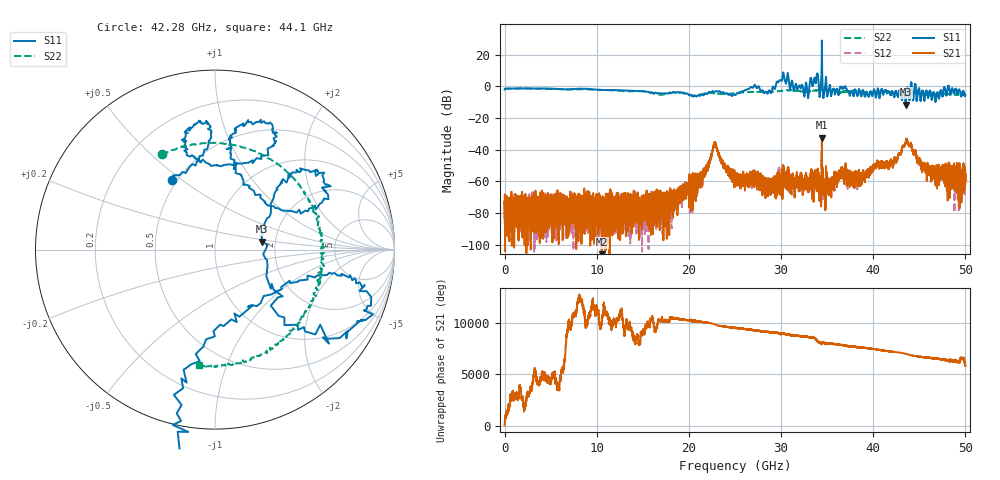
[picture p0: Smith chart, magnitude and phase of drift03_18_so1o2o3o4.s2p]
!Created with skrf (http://scikit-rf.org).
# Hz S RI R 50.0
!freq ReS11 ImS11 ReS21 ImS21 ReS12 ImS12 ReS22 ImS22
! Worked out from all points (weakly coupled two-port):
!   10000 points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, 5.3 MHz to 50 GHz, reference 50 ohm
!   highest |S21| = -32.54 dB at 34.43 GHz (marker M1); lowest = -110.8 dB at 10.55 GHz (marker M2)
!   lowest |S11| = -11.5 dB at 43.52 GHz (marker M3), VSWR 1.72, Z = 85 + j7.99 ohm
!   |S11| at or under -10 dB: 43.4889 GHz to 43.54974 GHz (60.84 MHz wide, 0.14 % of centre)
!   |S22| runs from -5.9 to -1.3 dB; largest |S21 - S12| = 0.0084
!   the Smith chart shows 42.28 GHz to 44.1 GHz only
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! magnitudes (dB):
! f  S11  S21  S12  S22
! 5.3 MHz  -2.1  -74.3  -73.2  -2.1
! 8.34 GHz  -1.5  -75.2  -90.0  -1.9
! 10.55 GHz  -2.3  -110.8  -78.7  -2.3
! 16.67 GHz  -4.4  -78.7  -78.0  -5.2
! 20.95 GHz  -5.8  -64.6  -61.1  -5.6
! 21.92 GHz  -4.8  -52.6  -52.1  -4.4
! 22.82 GHz  -3.5  -35.5  -35.6  -4.5
! 25.01 GHz  -5.5  -59.0  -56.3  -4.2
! 27.02 GHz  -0.3  -59.1  -57.9  -3.5
! 28.72 GHz  -2.5  -61.2  -63.7  -3.5
! 30.14 GHz  4.4  -57.4  -56.6  -2.8
! 32.74 GHz  2.0  -62.9  -57.9  -3.4
! 33.34 GHz  2.5  -58.2  -57.8  -2.9
! 33.82 GHz  4.0  -56.8  -60.5  -2.6
! 34.43 GHz  29.0  -32.5  -35.1  -2.3
! 35.23 GHz  -1.1  -64.9  -63.8  -2.6
! 36.48 GHz  -0.4  -54.1  -52.9  -3.8
! 38.1 GHz  -2.5  -59.3  -57.3  -2.8
! 41.67 GHz  -3.2  -49.7  -50.7  -3.7
! 43.52 GHz  -11.5  -35.9  -35.6  -4.3
! 45.84 GHz  -3.9  -52.3  -51.1  -5.4
! 50 GHz  -5.3  -55.4  -61.7  -5.0
